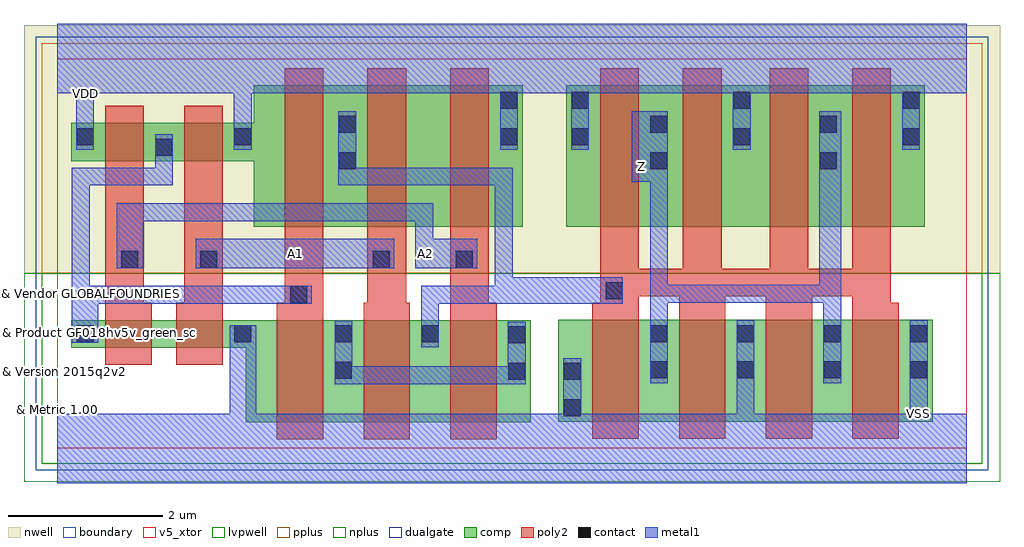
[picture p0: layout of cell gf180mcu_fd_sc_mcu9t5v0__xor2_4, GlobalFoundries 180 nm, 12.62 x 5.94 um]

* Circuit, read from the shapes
.subckt gf180mcu_fd_sc_mcu9t5v0__xor2_4 A1 A2 VDD VSS Z
XM1 n1 A2 n2 VSUBS nfet_05v0 w=0.36u l=0.6u
XM2 VSS A1 n1 VSUBS nfet_05v0 w=0.36u l=0.6u
XM3 n3 n2 VSS VSUBS nfet_05v0 w=1.32u l=0.6u
XM4 n4 A1 n3 VSUBS nfet_05v0 w=1.32u l=0.6u
XM5 n3 A2 n4 VSUBS nfet_05v0 w=1.32u l=0.6u
XM6 Z n4 VSS VSUBS nfet_05v0 w=1.32u l=0.6u m=4
XM7 n2 A2 VDD n5 pfet_05v0 w=0.495u l=0.5u
XM8 VDD A1 n2 n5 pfet_05v0 w=0.495u l=0.5u
XM9 n4 n2 VDD n5 pfet_05v0 w=1.83u l=0.5u
XM10 n6 A1 n4 n5 pfet_05v0 w=1.83u l=0.5u
XM11 VDD A2 n6 n5 pfet_05v0 w=1.83u l=0.5u
XM12 Z n4 VDD n5 pfet_05v0 w=1.83u l=0.5u m=4
.ends

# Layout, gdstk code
import gdstk
lib = gdstk.Library(unit=1e-6, precision=1e-09)
def R(c, l, rs):  # rectangles x0, y0, x1, y1
    for r in rs: c.add(gdstk.rectangle(r[:2], r[2:], *l))
def A(c, l, x, y, w, h, nx, ny, dx, dy):  # array of equal rectangles
    R(c, l, [(x+i*dx, y+j*dy, x+i*dx+w, y+j*dy+h) for i in range(nx) for j in range(ny)])
def P(c, l, *ps):  # polygons
    for p in ps: c.add(gdstk.Polygon(p, *l))
boundary = (0, 0)
nwell = (21, 0)
comp = (22, 0)
poly2 = (30, 0)
pplus = (31, 0)
nplus = (32, 0)
contact = (33, 0)
metal1 = (34, 0)
dualgate = (55, 0)
v5_xtor = (112, 1)
lvpwell = (204, 0)

gf180mcu_fd_sc_mcu9t5v0_ = lib.new_cell('gf180mcu_fd_sc_mcu9t5v0__xor2_4')
R(gf180mcu_fd_sc_mcu9t5v0_, boundary, [(0,0,11.76,5.04)])
R(gf180mcu_fd_sc_mcu9t5v0_, nwell, [(-0.43,2.265,12.19,5.47)])
R(gf180mcu_fd_sc_mcu9t5v0_, comp, [(6.48,0.345,11.32,1.665), (6.58,2.865,11.22,4.695)])
P(gf180mcu_fd_sc_mcu9t5v0_, comp, [(2.54,2.865),(2.54,3.715),(0.18,3.715),(0.18,4.21),(2.54,4.21),(2.54,4.695),(6.02,4.695),(6.02,2.865)],
  [(2.44,0.34),(2.44,1.3),(0.18,1.3),(0.18,1.66),(6.12,1.66),(6.12,0.34)])
P(gf180mcu_fd_sc_mcu9t5v0_, poly2, [(0.62,1.08),(0.62,4.43),(1.12,4.43),(1.12,1.88),(1.22,1.88),(1.22,1.08)],
  [(1.54,1.08),(1.54,1.88),(1.64,1.88),(1.64,4.43),(2.14,4.43),(2.14,1.08)],
  [(2.84,0.12),(2.84,1.88),(2.94,1.88),(2.94,4.915),(3.44,4.915),(3.44,0.12)],
  [(3.96,0.12),(3.96,1.88),(4.01,1.88),(4.01,4.915),(4.51,4.915),(4.51,1.88),(4.56,1.88),(4.56,0.12)],
  [(5.08,0.12),(5.08,4.915),(5.58,4.915),(5.58,1.88),(5.68,1.88),(5.68,0.12)],
  [(6.92,0.125),(6.92,1.885),(7.02,1.885),(7.02,4.915),(7.52,4.915),(7.52,2.325),(8.09,2.325),(8.09,4.915),(8.59,4.915),(8.59,2.325),(9.21,2.325),(9.21,4.915),(9.71,4.915),(9.71,2.325),(10.28,2.325),(10.28,4.915),(10.78,4.915),(10.78,1.885),(10.88,1.885),(10.88,0.125),(10.28,0.125),(10.28,1.965),(9.76,1.965),(9.76,0.125),(9.16,0.125),(9.16,1.965),(8.64,1.965),(8.64,0.125),(8.04,0.125),(8.04,1.965),(7.52,1.965),(7.52,0.125)])
R(gf180mcu_fd_sc_mcu9t5v0_, pplus, [(-0.2,2.265,11.96,5.24)])
R(gf180mcu_fd_sc_mcu9t5v0_, nplus, [(-0.2,-0.2,11.96,2.265)])
A(gf180mcu_fd_sc_mcu9t5v0_, contact, 7.67, 0.905, 0.22, 0.22, 4, 2, 1.12, 0.47)
R(gf180mcu_fd_sc_mcu9t5v0_, contact, [(6.55,0.415,6.77,0.635), (6.55,0.885,6.77,1.105), (5.83,0.89,6.05,1.11), (3.59,0.9,3.81,1.12), (5.83,1.36,6.05,1.58), (0.25,1.37,0.47,1.59), (2.29,1.37,2.51,1.59), (3.59,1.37,3.81,1.59), (4.71,1.37,4.93,1.59), (3.01,1.875,3.23,2.095), (7.09,1.93,7.31,2.15), (0.83,2.335,1.05,2.555), (1.85,2.335,2.07,2.555), (4.08,2.335,4.3,2.555), (5.15,2.335,5.37,2.555), (3.64,3.61,3.86,3.83), (7.67,3.61,7.89,3.83), (9.86,3.61,10.08,3.83), (1.27,3.785,1.49,4.005), (0.25,3.92,0.47,4.14), (2.29,3.92,2.51,4.14), (5.73,3.92,5.95,4.14), (6.65,3.92,6.87,4.14), (8.74,3.92,8.96,4.14), (10.93,3.92,11.15,4.14), (3.64,4.08,3.86,4.3), (7.67,4.08,7.89,4.3), (9.86,4.08,10.08,4.3), (5.73,4.39,5.95,4.61), (6.65,4.39,6.87,4.61), (8.74,4.39,8.96,4.61), (10.93,4.39,11.15,4.61)])
R(gf180mcu_fd_sc_mcu9t5v0_, metal1, [(1.79,2.33,4.36,2.71)])
P(gf180mcu_fd_sc_mcu9t5v0_, metal1, [(0.19,1.365),(0.19,3.63),(1.265,3.63),(1.265,4.065),(1.495,4.065),(1.495,3.4),(0.42,3.4),(0.42,2.1),(3.29,2.1),(3.29,1.87),(0.53,1.87),(0.53,1.365)],
  [(0.77,2.33),(0.77,3.17),(4.86,3.17),(4.86,2.71),(5.43,2.71),(5.43,2.33),(4.63,2.33),(4.63,2.94),(1.11,2.94),(1.11,2.33)],
  [(3.585,0.83),(3.585,1.65),(3.815,1.65),(3.815,1.06),(5.825,1.06),(5.825,1.64),(6.055,1.64),(6.055,0.83)],
  [(4.705,1.31),(4.705,2.1),(5.66,2.1),(5.66,3.4),(3.635,3.4),(3.635,4.36),(3.865,4.36),(3.865,3.63),(5.89,3.63),(5.89,2.21),(7.315,2.21),(7.315,1.87),(4.935,1.87),(4.935,1.31)],
  [(7.665,0.845),(7.665,3.45),(7.43,3.45),(7.43,4.36),(7.895,4.36),(7.895,2.115),(9.855,2.115),(9.855,4.36),(10.135,4.36),(10.135,0.845),(9.905,0.845),(9.905,1.885),(7.895,1.885),(7.895,0.845)],
  [(0,-0.45),(0,0.45),(2.23,0.45),(2.23,1.595),(2.57,1.595),(2.57,0.45),(6.545,0.45),(6.545,1.165),(6.775,1.165),(6.775,0.45),(8.785,0.45),(8.785,1.655),(9.015,1.655),(9.015,0.45),(11.025,0.45),(11.025,1.655),(11.255,1.655),(11.255,0.45),(11.76,0.45),(11.76,-0.45)],
  [(0.245,3.86),(0.245,4.59),(0,4.59),(0,5.49),(11.76,5.49),(11.76,4.59),(11.155,4.59),(11.155,3.86),(10.925,3.86),(10.925,4.59),(8.965,4.59),(8.965,3.86),(8.735,3.86),(8.735,4.59),(6.875,4.59),(6.875,3.86),(6.645,3.86),(6.645,4.59),(5.955,4.59),(5.955,3.86),(5.725,3.86),(5.725,4.59),(2.515,4.59),(2.515,3.86),(2.285,3.86),(2.285,4.59),(0.475,4.59),(0.475,3.86)])
R(gf180mcu_fd_sc_mcu9t5v0_, dualgate, [(-0.28,-0.28,12.04,5.32)])
R(gf180mcu_fd_sc_mcu9t5v0_, v5_xtor, [(0,0,11.76,5.04)])
R(gf180mcu_fd_sc_mcu9t5v0_, lvpwell, [(-0.43,-0.43,12.19,2.265)])
gf180mcu_fd_sc_mcu9t5v0_.add(gdstk.Label('A1', (3.08,2.52), layer=34, texttype=10))
gf180mcu_fd_sc_mcu9t5v0_.add(gdstk.Label('A2', (4.76,2.52), layer=34, texttype=10))
gf180mcu_fd_sc_mcu9t5v0_.add(gdstk.Label('VDD', (0.36,4.59), layer=34, texttype=10))
gf180mcu_fd_sc_mcu9t5v0_.add(gdstk.Label('VSS', (11.14,0.45), layer=34, texttype=10))
gf180mcu_fd_sc_mcu9t5v0_.add(gdstk.Label('Z', (7.56,3.64), layer=34, texttype=10))
gf180mcu_fd_sc_mcu9t5v0_.add(gdstk.Label('& Vendor GLOBALFOUNDRIES', (0,2), layer=63, texttype=63))
gf180mcu_fd_sc_mcu9t5v0_.add(gdstk.Label('& Product GF018hv5v_green_sc9', (0,1.5), layer=63, texttype=63))
gf180mcu_fd_sc_mcu9t5v0_.add(gdstk.Label('& Version 2015q2v2', (0,1), layer=63, texttype=63))
gf180mcu_fd_sc_mcu9t5v0_.add(gdstk.Label('& Metric 1.00', (0,0.5), layer=63, texttype=63))

lib.write_gds('gf180mcu_fd_sc_mcu9t5v0__xor2_4.gds')
